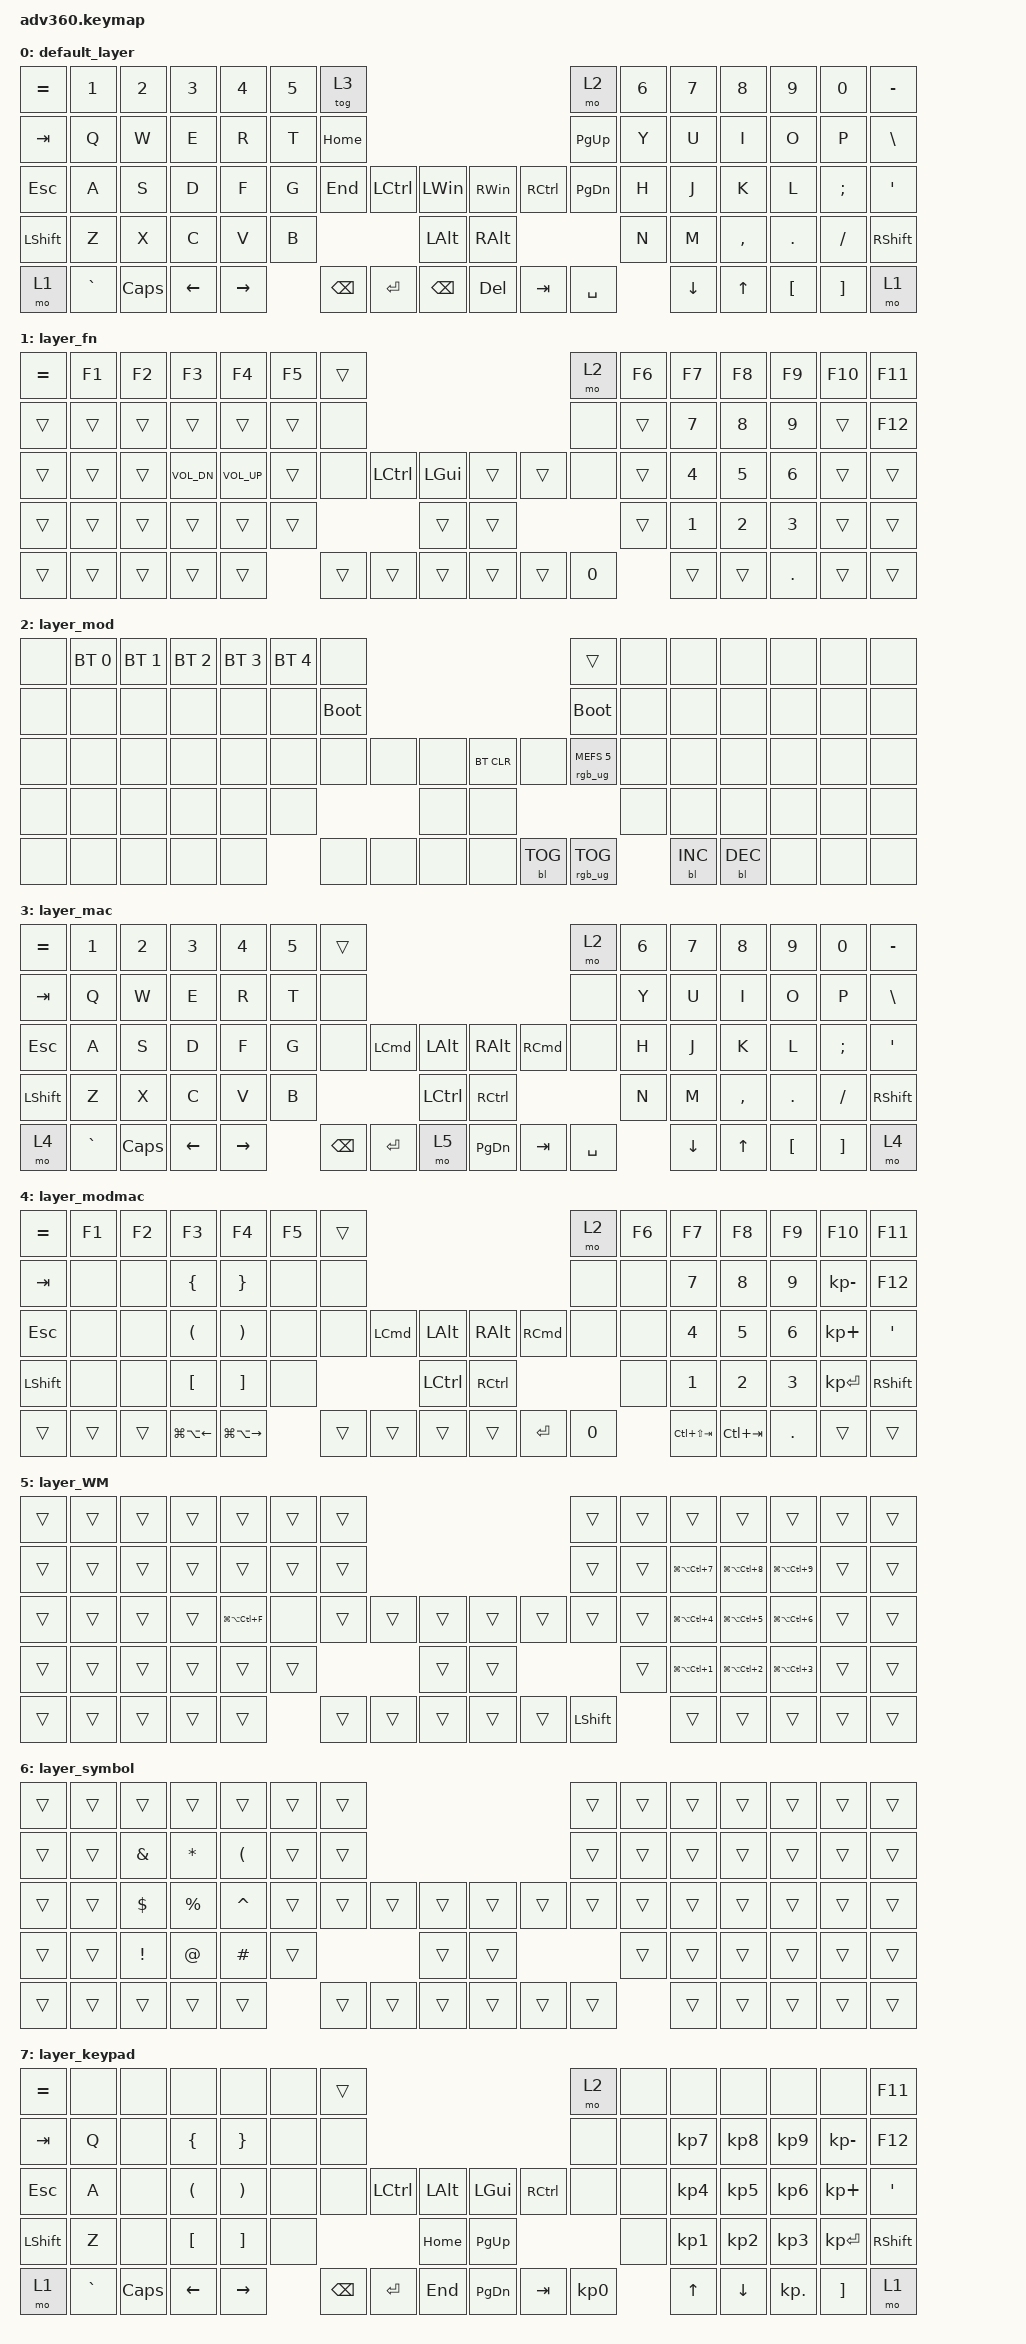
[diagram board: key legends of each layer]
/*
 * Copyright (c) 2020 The ZMK Contributors
 *
 * SPDX-License-Identifier: MIT
 */
/* THIS FILE WAS GENERATED!
 *
 * This file was generated automatically. You may or may not want to
 * edit it directly.
 */

#include <behaviors.dtsi>
#include <dt-bindings/zmk/backlight.h>
#include <dt-bindings/zmk/bt.h>
#include <dt-bindings/zmk/keys.h>
#include <dt-bindings/zmk/rgb.h>

/ {
    behaviors {
        #include "macros.dtsi"
    #include "version.dtsi"

        hm: homerow_mods {
            compatible = "zmk,behavior-hold-tap";
            label = "HOMEROW_MODS";
            #binding-cells = <2>;
            tapping-term-ms = <200>;
            quick_tap_ms = <175>;
            flavor = "tap-preferred";
            bindings = <&kp>, <&kp>;
        };
    };

    keymap {
        compatible = "zmk,keymap";

        default_layer {
            bindings = <
&kp EQUAL  &kp N1     &kp N2    &kp N3    &kp N4     &kp N5  &tog 3                                                                  &mo 2      &kp N6  &kp N7    &kp N8     &kp N9    &kp N0    &kp MINUS
&kp TAB    &kp Q      &kp W     &kp E     &kp R      &kp T   &kp HOME                                                                &kp PG_UP  &kp Y   &kp U     &kp I      &kp O     &kp P     &kp BSLH
&kp ESC    &kp A      &kp S     &kp D     &kp F      &kp G   &kp END        &kp LCTRL   &kp LEFT_WIN       &kp RIGHT_WIN  &kp RCTRL  &kp PG_DN  &kp H   &kp J     &kp K      &kp L     &kp SEMI  &kp SQT
&kp LSHFT  &kp Z      &kp X     &kp C     &kp V      &kp B                              &kp LEFT_ALT       &kp RIGHT_ALT                        &kp N   &kp M     &kp COMMA  &kp DOT   &kp FSLH  &kp RSHFT
&mo 1      &kp GRAVE  &kp CAPS  &kp LEFT  &kp RIGHT          &kp BACKSPACE  &kp RETURN  &kp BACKSPACE      &kp DEL        &kp TAB    &kp SPACE          &kp DOWN  &kp UP     &kp LBKT  &kp RBKT  &mo 1
            >;
        };

        layer_fn {
            bindings = <
&kp EQUAL  &kp F1  &kp F2  &kp F3        &kp F4        &kp F5  &trans                                               &mo 2         &kp F6  &kp F7        &kp F8        &kp F9        &kp F10  &kp F11
&trans     &trans  &trans  &trans        &trans        &trans  &none                                                &none         &trans  &kp NUMBER_7  &kp NUMBER_8  &kp NUMBER_9  &trans   &kp F12
&trans     &trans  &trans  &kp C_VOL_DN  &kp C_VOL_UP  &trans  &none   &kp LCTRL  &kp LEFT_GUI      &trans  &trans  &none         &trans  &kp NUMBER_4  &kp NUMBER_5  &kp NUMBER_6  &trans   &trans
&trans     &trans  &trans  &trans        &trans        &trans                     &trans            &trans                        &trans  &kp NUMBER_1  &kp NUMBER_2  &kp NUMBER_3  &trans   &trans
&trans     &trans  &trans  &trans        &trans                &trans  &trans     &trans            &trans  &trans  &kp NUMBER_0          &trans        &trans        &kp PERIOD    &trans   &trans
            >;
        };

        layer_mod {
            bindings = <
&none  &bt BT_SEL 0  &bt BT_SEL 1  &bt BT_SEL 2  &bt BT_SEL 3  &bt BT_SEL 4  &none                                                  &trans                  &none  &none       &none       &none  &none  &none
&none  &none         &none         &none         &none         &none         &bootloader                                            &bootloader             &none  &none       &none       &none  &none  &none
&none  &none         &none         &none         &none         &none         &none        &none  &none      &bt BT_CLR  &none       &rgb_ug RGB_MEFS_CMD 5  &none  &none       &none       &none  &none  &none
&none  &none         &none         &none         &none         &none                             &none      &none                                           &none  &none       &none       &none  &none  &none
&none  &none         &none         &none         &none                       &none        &none  &none      &none       &bl BL_TOG  &rgb_ug RGB_TOG                &bl BL_INC  &bl BL_DEC  &none  &none  &none
            >;
        };

        layer_mac {
            bindings = <
&kp EQUAL  &kp N1     &kp N2    &kp N3    &kp N4     &kp N5  &trans                                                                                       &mo 2      &kp N6  &kp N7          &kp N8        &kp N9    &kp N0    &kp MINUS
&kp TAB    &kp Q      &kp W     &kp E     &kp R      &kp T   &none                                                                                        &none      &kp Y   &kp U           &kp I         &kp O     &kp P     &kp BSLH
&kp ESC    &kp A      &kp S     &kp D     &kp F      &kp G   &none          &kp LEFT_COMMAND  &kp LALT              &kp RIGHT_ALT      &kp RIGHT_COMMAND  &none      &kp H   &kp J           &kp K         &kp L     &kp SEMI  &kp SQT
&kp LSHFT  &kp Z      &kp X     &kp C     &kp V      &kp B                                    &kp LEFT_CONTROL      &kp RIGHT_CONTROL                                &kp N   &kp M           &kp COMMA     &kp DOT   &kp FSLH  &kp RSHFT
&mo 4      &kp GRAVE  &kp CAPS  &kp LEFT  &kp RIGHT          &kp BACKSPACE  &kp RETURN        &mo 5                 &kp PG_DN          &kp TAB            &kp SPACE          &kp DOWN_ARROW  &kp UP_ARROW  &kp LBKT  &kp RBKT  &mo 4
            >;
        };

        layer_modmac {
            bindings = <
&kp EQUAL  &kp F1  &kp F2  &kp F3                  &kp F4                   &kp F5  &trans                                                                                &mo 2         &kp F6  &kp F7           &kp F8        &kp F9        &kp F10       &kp F11
&kp TAB    &none   &none   &kp LEFT_BRACE          &kp RIGHT_BRACE          &none   &none                                                                                 &none         &none   &kp NUMBER_7     &kp NUMBER_8  &kp NUMBER_9  &kp KP_MINUS  &kp F12
&kp ESC    &none   &none   &kp LEFT_PARENTHESIS    &kp RIGHT_PARENTHESIS    &none   &none   &kp LEFT_COMMAND  &kp LALT              &kp RIGHT_ALT      &kp RIGHT_COMMAND  &none         &none   &kp NUMBER_4     &kp NUMBER_5  &kp NUMBER_6  &kp KP_PLUS   &kp SQT
&kp LSHFT  &none   &none   &kp LEFT_BRACKET        &kp RIGHT_BRACKET        &none                             &kp LEFT_CONTROL      &kp RIGHT_CONTROL                                   &none   &kp NUMBER_1     &kp NUMBER_2  &kp NUMBER_3  &kp KP_ENTER  &kp RSHFT
&trans     &trans  &trans  &kp LG(LA(LEFT_ARROW))  &kp LG(LA(RIGHT_ARROW))          &trans  &trans            &trans                &trans             &kp ENTER          &kp NUMBER_0          &kp LC(LS(TAB))  &kp LC(TAB)   &kp DOT       &trans        &trans
            >;
        };

        layer_WM {
            bindings = <
&trans  &trans  &trans  &trans  &trans             &trans  &trans                                      &trans          &trans  &trans                    &trans                    &trans                    &trans  &trans
&trans  &trans  &trans  &trans  &trans             &trans  &trans                                      &trans          &trans  &kp LG(LA(LC(NUMBER_7)))  &kp LG(LA(LC(NUMBER_8)))  &kp LG(LA(LC(NUMBER_9)))  &trans  &trans
&trans  &trans  &trans  &trans  &kp LG(LA(LC(F)))  &none   &trans  &trans  &trans      &trans  &trans  &trans          &trans  &kp LG(LA(LC(NUMBER_4)))  &kp LG(LA(LC(N5)))        &kp LG(LA(LC(N6)))        &trans  &trans
&trans  &trans  &trans  &trans  &trans             &trans                  &trans      &trans                          &trans  &kp LG(LA(LC(N1)))        &kp LG(LA(LC(N2)))        &kp LG(LA(LC(N3)))        &trans  &trans
&trans  &trans  &trans  &trans  &trans                     &trans  &trans  &trans      &trans  &trans  &kp LEFT_SHIFT          &trans                    &trans                    &trans                    &trans  &trans
            >;
        };

        layer_symbol {
            bindings = <
&trans  &trans  &trans           &trans       &trans                &trans  &trans                                      &trans  &trans  &trans  &trans  &trans  &trans  &trans
&trans  &trans  &kp AMPERSAND    &kp STAR     &kp LEFT_PARENTHESIS  &trans  &trans                                      &trans  &trans  &trans  &trans  &trans  &trans  &trans
&trans  &trans  &kp DOLLAR       &kp PERCENT  &kp CARET             &trans  &trans  &trans  &trans      &trans  &trans  &trans  &trans  &trans  &trans  &trans  &trans  &trans
&trans  &trans  &kp EXCLAMATION  &kp AT_SIGN  &kp POUND             &trans                  &trans      &trans                  &trans  &trans  &trans  &trans  &trans  &trans
&trans  &trans  &trans           &trans       &trans                        &trans  &trans  &trans      &trans  &trans  &trans          &trans  &trans  &trans  &trans  &trans
            >;
        };

        layer_keypad {
            bindings = <
&kp EQUAL  &none      &none     &none                 &none                  &none  &trans                                                        &mo 2      &none  &none      &none      &none       &none         &kp F11
&kp TAB    &kp Q      &none     &kp LEFT_BRACE        &kp RIGHT_BRACE        &none  &none                                                         &none      &none  &kp KP_N7  &kp KP_N8  &kp KP_N9   &kp KP_MINUS  &kp F12
&kp ESC    &kp A      &none     &kp LEFT_PARENTHESIS  &kp RIGHT_PARENTHESIS  &none  &none          &kp LCTRL  &kp LALT      &kp LGUI   &kp RCTRL  &none      &none  &kp KP_N4  &kp KP_N5  &kp KP_N6   &kp KP_PLUS   &kp SQT
&kp LSHFT  &kp Z      &none     &kp LEFT_BRACKET      &kp RIGHT_BRACKET      &none                            &kp HOME      &kp PG_UP                        &none  &kp KP_N1  &kp KP_N2  &kp KP_N3   &kp KP_ENTER  &kp RSHFT
&mo 1      &kp GRAVE  &kp CAPS  &kp LEFT              &kp RIGHT                     &kp BACKSPACE  &kp ENTER  &kp END       &kp PG_DN  &kp TAB    &kp KP_N0         &kp UP     &kp DOWN   &kp KP_DOT  &kp RBKT      &mo 1
            >;
        };
    };
};
